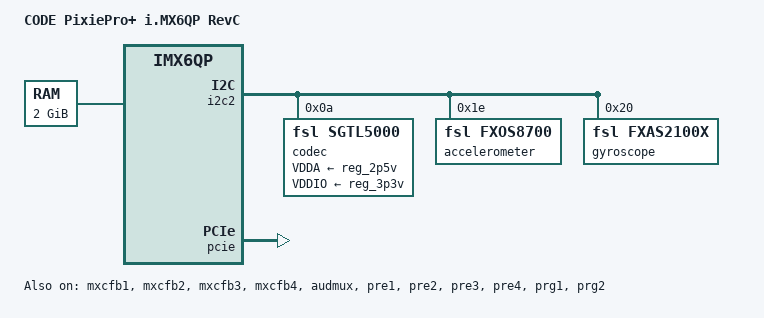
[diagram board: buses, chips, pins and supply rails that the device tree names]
/*
 * Copyright 2012 Freescale Semiconductor, Inc.
 * Copyright 2011 Linaro Ltd.
 *
 * The code contained herein is licensed under the GNU General Public
 * License. You may obtain a copy of the GNU General Public License
 * Version 2 or later at the following locations:
 *
 * http://www.opensource.org/licenses/gpl-license.html
 * http://www.gnu.org/copyleft/gpl.html
 */

/dts-v1/;

#include "imx6qp.dtsi"
#include "imx6qdl-pixiepro.dtsi"

/ {
	model = "CODE PixiePro+ i.MX6QP RevC";
	compatible = "fsl,imx6qp-pixiepro", "fsl,imx6qp";

	memory: memory {
		reg = <0x10000000 0x80000000>;
	};

	sound-sgtl5000 {
		compatible = "fsl,imx6-pixieboard-sgtl5000",
			     "fsl,imx-audio-sgtl5000";
		model = "imx6-pixieboard-sgtl5000";
		ssi-controller = <&ssi1>;
		audio-codec = <&codec>;
		audio-routing =
			"MIC_IN", "Mic Jack",
			"Mic Jack", "Mic Bias",
			"Headphone Jack", "HP_OUT";
		mux-int-port = <1>;
		mux-ext-port = <4>;
	};

};



&i2c2 {
		
	codec: sgtl5000@0a {
	compatible = "fsl,sgtl5000";
	reg = <0x0a>;
	clocks = <&clks 201>;
	VDDA-supply = <&reg_2p5v>;
	VDDIO-supply = <&reg_3p3v>;
	};

	accelerometer: fxos8700@1e {
	compatible = "fsl,fxos8700";
	reg = <0x1e>;
   };

   	gyroscope: fxas2100x@20 {
	compatible = "fsl,fxas2100x";
	reg = <0x20>;
   };

};

&ldb {
	lvds-channel@0 {
		crtc = "ipu2-di0";
	};

	lvds-channel@1 {
		crtc = "ipu2-di1";
	};
};

&mxcfb1 {
	prefetch;
	status = "okay";
};

&mxcfb2 {
	prefetch;
	status = "okay";
};

&mxcfb3 {
	prefetch;
	status = "okay";
};

&mxcfb4 {
	prefetch;
	status = "okay";
};

&audmux {
	status = "okay";
};

&pre1 {
	status = "okay";
};

&pre2 {
	status = "okay";
};

&pre3 {
	status = "okay";
};

&pre4 {
	status = "okay";
};

&prg1 {
	memory-region = <&memory>;
	status = "okay";
};

&prg2 {
	memory-region = <&memory>;
	status = "okay";
};

&pcie {
	status = "okay";
};

